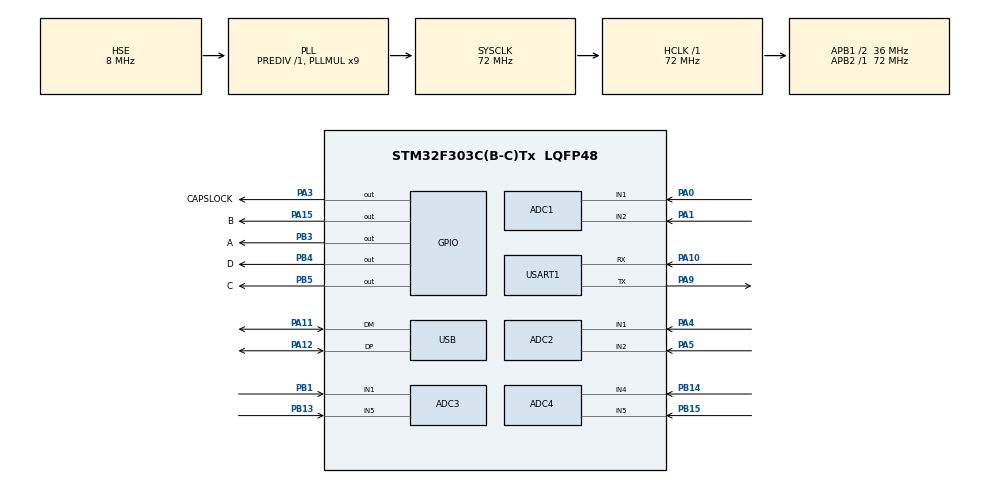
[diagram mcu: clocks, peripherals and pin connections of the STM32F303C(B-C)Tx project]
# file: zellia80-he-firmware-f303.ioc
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ADC1.Channel-0\#ChannelRegularConversion=ADC_CHANNEL_1
ADC1.Channel-1\#ChannelRegularConversion=ADC_CHANNEL_2
ADC1.ClockPrescaler=ADC_CLOCK_SYNC_PCLK_DIV1
ADC1.ContinuousConvMode=ENABLE
ADC1.DMAContinuousRequests=ENABLE
ADC1.NbrOfConversion=2
ADC1.NbrOfConversionFlag=1
ADC1.Offset-0\#ChannelRegularConversion=0
ADC1.Offset-1\#ChannelRegularConversion=0
ADC1.OffsetNumber-0\#ChannelRegularConversion=ADC_OFFSET_NONE
ADC1.OffsetNumber-1\#ChannelRegularConversion=ADC_OFFSET_NONE
ADC1.Rank-0\#ChannelRegularConversion=1
ADC1.Rank-1\#ChannelRegularConversion=2
ADC1.SamplingTime-0\#ChannelRegularConversion=ADC_SAMPLETIME_61CYCLES_5
ADC1.SamplingTime-1\#ChannelRegularConversion=ADC_SAMPLETIME_61CYCLES_5
ADC1.SamplingTimeOPAMP-1\#ChannelRegularConversion=ADC_SAMPLETIME_61CYCLES_5
ADC1.master=1
ADC2.Channel-0\#ChannelRegularConversion=ADC_CHANNEL_1
ADC2.Channel-1\#ChannelRegularConversion=ADC_CHANNEL_2
ADC2.ClockPrescaler=ADC_CLOCK_SYNC_PCLK_DIV1
ADC2.ContinuousConvMode=ENABLE
ADC2.DMAContinuousRequests=ENABLE
ADC2.NbrOfConversion=2
ADC2.NbrOfConversionFlag=1
ADC2.Offset-0\#ChannelRegularConversion=0
ADC2.Offset-1\#ChannelRegularConversion=0
ADC2.OffsetNumber-0\#ChannelRegularConversion=ADC_OFFSET_NONE
ADC2.OffsetNumber-1\#ChannelRegularConversion=ADC_OFFSET_NONE
ADC2.Rank-0\#ChannelRegularConversion=1
ADC2.Rank-1\#ChannelRegularConversion=2
ADC2.SamplingTime-0\#ChannelRegularConversion=ADC_SAMPLETIME_61CYCLES_5
ADC2.SamplingTime-1\#ChannelRegularConversion=ADC_SAMPLETIME_61CYCLES_5
ADC2.SamplingTimeOPAMP-1\#ChannelRegularConversion=ADC_SAMPLETIME_61CYCLES_5
ADC3.Channel-0\#ChannelRegularConversion=ADC_CHANNEL_1
ADC3.Channel-1\#ChannelRegularConversion=ADC_CHANNEL_5
ADC3.ContinuousConvMode=ENABLE
ADC3.DMAContinuousRequests=ENABLE
ADC3.NbrOfConversion=2
ADC3.NbrOfConversionFlag=1
ADC3.Offset-0\#ChannelRegularConversion=0
ADC3.Offset-1\#ChannelRegularConversion=0
ADC3.OffsetNumber-0\#ChannelRegularConversion=ADC_OFFSET_NONE
ADC3.OffsetNumber-1\#ChannelRegularConversion=ADC_OFFSET_NONE
ADC3.Rank-0\#ChannelRegularConversion=1
ADC3.Rank-1\#ChannelRegularConversion=2
ADC3.SamplingTime-0\#ChannelRegularConversion=ADC_SAMPLETIME_61CYCLES_5
ADC3.SamplingTime-1\#ChannelRegularConversion=ADC_SAMPLETIME_61CYCLES_5
ADC3.SamplingTimeOPAMP-1\#ChannelRegularConversion=ADC_SAMPLETIME_61CYCLES_5
ADC3.master=1
ADC4.Channel-0\#ChannelRegularConversion=ADC_CHANNEL_4
ADC4.Channel-1\#ChannelRegularConversion=ADC_CHANNEL_5
ADC4.ContinuousConvMode=ENABLE
ADC4.DMAContinuousRequests=ENABLE
ADC4.NbrOfConversion=2
ADC4.NbrOfConversionFlag=1
ADC4.Offset-0\#ChannelRegularConversion=0
ADC4.Offset-1\#ChannelRegularConversion=0
ADC4.OffsetNumber-0\#ChannelRegularConversion=ADC_OFFSET_NONE
ADC4.OffsetNumber-1\#ChannelRegularConversion=ADC_OFFSET_NONE
ADC4.Rank-0\#ChannelRegularConversion=1
ADC4.Rank-1\#ChannelRegularConversion=2
ADC4.SamplingTime-0\#ChannelRegularConversion=ADC_SAMPLETIME_61CYCLES_5
ADC4.SamplingTime-1\#ChannelRegularConversion=ADC_SAMPLETIME_61CYCLES_5
ADC4.SamplingTimeOPAMP-1\#ChannelRegularConversion=ADC_SAMPLETIME_61CYCLES_5
Dma.ADC1.0.Direction=DMA_PERIPH_TO_MEMORY
Dma.ADC1.0.Instance=DMA1_Channel1
Dma.ADC1.0.MemDataAlignment=DMA_MDATAALIGN_WORD
Dma.ADC1.0.MemInc=DMA_MINC_ENABLE
Dma.ADC1.0.Mode=DMA_CIRCULAR
Dma.ADC1.0.PeriphDataAlignment=DMA_PDATAALIGN_WORD
Dma.ADC1.0.PeriphInc=DMA_PINC_DISABLE
Dma.ADC1.0.Priority=DMA_PRIORITY_VERY_HIGH
Dma.ADC2.1.Direction=DMA_PERIPH_TO_MEMORY
Dma.ADC2.1.Instance=DMA2_Channel1
Dma.ADC2.1.MemDataAlignment=DMA_MDATAALIGN_WORD
Dma.ADC2.1.MemInc=DMA_MINC_ENABLE
Dma.ADC2.1.Mode=DMA_CIRCULAR
Dma.ADC2.1.PeriphDataAlignment=DMA_PDATAALIGN_WORD
Dma.ADC2.1.PeriphInc=DMA_PINC_DISABLE
Dma.ADC2.1.Priority=DMA_PRIORITY_VERY_HIGH
Dma.ADC3.2.Direction=DMA_PERIPH_TO_MEMORY
Dma.ADC3.2.Instance=DMA2_Channel5
Dma.ADC3.2.MemDataAlignment=DMA_MDATAALIGN_WORD
Dma.ADC3.2.MemInc=DMA_MINC_ENABLE
Dma.ADC3.2.Mode=DMA_CIRCULAR
Dma.ADC3.2.PeriphDataAlignment=DMA_PDATAALIGN_WORD
Dma.ADC3.2.PeriphInc=DMA_PINC_DISABLE
Dma.ADC3.2.Priority=DMA_PRIORITY_VERY_HIGH
Dma.ADC4.3.Direction=DMA_PERIPH_TO_MEMORY
Dma.ADC4.3.Instance=DMA2_Channel2
Dma.ADC4.3.MemDataAlignment=DMA_MDATAALIGN_WORD
Dma.ADC4.3.MemInc=DMA_MINC_ENABLE
Dma.ADC4.3.Mode=DMA_CIRCULAR
Dma.ADC4.3.PeriphDataAlignment=DMA_PDATAALIGN_WORD
Dma.ADC4.3.PeriphInc=DMA_PINC_DISABLE
Dma.ADC4.3.Priority=DMA_PRIORITY_VERY_HIGH
Dma.Request0=ADC1
Dma.Request1=ADC2
Dma.Request2=ADC3
Dma.Request3=ADC4
Mcu.Family=STM32F3
Mcu.Name=STM32F303C(B-C)Tx
Mcu.Package=LQFP48
NVIC.PriorityGroup=NVIC_PRIORITYGROUP_4
NVIC.TIM2_IRQn=true\:5\:0\:true\:false\:true\:true\:true\:true
NVIC.TIM7_IRQn=true\:7\:0\:true\:false\:true\:true\:true\:true
NVIC.USB_LP_CAN_RX0_IRQn=true\:0\:0\:false\:false\:true\:true\:true\:true
PA0.Mode=IN1-Single-Ended
PA0.Signal=ADC1_IN1
PA1.Mode=IN2-Single-Ended
PA1.Signal=ADC1_IN2
PA10.Mode=Asynchronous
PA10.Signal=USART1_RX
PA11.Mode=Device
PA11.Signal=USB_DM
PA12.Mode=Device
PA12.Signal=USB_DP
PA13.Mode=Serial_Wire
PA13.Signal=SYS_JTMS-SWDIO
PA14.Mode=Serial_Wire
PA14.Signal=SYS_JTCK-SWCLK
PA15.GPIO_Label=B
PA15.Signal=GPIO_Output
PA3.GPIO_Label=CAPSLOCK
PA3.Signal=GPIO_Output
PA4.Mode=IN1-Single-Ended
PA4.Signal=ADC2_IN1
PA5.Mode=IN2-Single-Ended
PA5.Signal=ADC2_IN2
PA9.Mode=Asynchronous
PA9.Signal=USART1_TX
PB1.Mode=IN1-Single-Ended
PB1.Signal=ADC3_IN1
PB13.Mode=IN5-Single-Ended
PB13.Signal=ADC3_IN5
PB14.Mode=IN4-Single-Ended
PB14.Signal=ADC4_IN4
PB15.Mode=IN5-Single-Ended
PB15.Signal=ADC4_IN5
PB3.GPIO_Label=A
PB3.Signal=GPIO_Output
PB4.GPIO_Label=D
PB4.Signal=GPIO_Output
PB5.GPIO_Label=C
PB5.Signal=GPIO_Output
PF0-OSC_IN.Mode=HSE-External-Oscillator
PF0-OSC_IN.Signal=RCC_OSC_IN
PF1-OSC_OUT.Mode=HSE-External-Oscillator
PF1-OSC_OUT.Signal=RCC_OSC_OUT
ProjectManager.HeapSize=0x200
ProjectManager.StackSize=0x400
ProjectManager.TargetToolchain=CMake
RCC.AHBFreq_Value=72000000
RCC.APB1CLKDivider=RCC_HCLK_DIV2
RCC.APB1Freq_Value=36000000
RCC.APB1TimFreq_Value=72000000
RCC.APB2Freq_Value=72000000
RCC.APB2TimFreq_Value=72000000
RCC.CortexFreq_Value=72000000
RCC.HCLKFreq_Value=72000000
RCC.HSE_VALUE=8000000
RCC.HSI_VALUE=8000000
RCC.LSE_VALUE=32768
RCC.PLLMUL=RCC_PLL_MUL9
RCC.PRESCALERUSB=RCC_USBCLKSOURCE_PLL_DIV1_5
RCC.SYSCLKFreq_VALUE=72000000
RCC.SYSCLKSourceVirtual=RCC_SYSCLKSOURCE_PLLCLK
RCC.USBFreq_Value=48000000
TIM2.AutoReloadPreload=TIM_AUTORELOAD_PRELOAD_ENABLE
TIM2.Period=1200-1
TIM2.TIM_MasterOutputTrigger=TIM_TRGO_UPDATE
TIM7.Period=10-1
TIM7.Prescaler=7200-1
USART1.VirtualMode-Asynchronous=VM_ASYNC
VP_TIM2_VS_ClockSourceINT.Mode=Internal
VP_TIM7_VS_ClockSourceINT.Mode=Enable_Timer
board=custom

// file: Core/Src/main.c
/* USER CODE BEGIN Header */
/**
  ******************************************************************************
  * @file           : main.c
  * @brief          : Main program body
  ******************************************************************************
  * @attention
  *
  * Copyright (c) 2025 STMicroelectronics.
  * All rights reserved.
  *
  * This software is licensed under terms that can be found in the LICENSE file
  * in the root directory of this software component.
  * If no LICENSE file comes with this software, it is provided AS-IS.
  *
  ******************************************************************************
  */
/* USER CODE END Header */
#include "main.h"
#include "adc.h"
#include "dma.h"
#include "tim.h"
#include "usart.h"
#include "usb.h"
#include "gpio.h"

/* USER CODE BEGIN Includes */
#include "stdbool.h"
#include "stdlib.h"
#include "analog.h"
#include "rgb.h"
#include "keyboard.h"
#include "keyboard_conf.h"
#include "math.h"
#include "lfs.h"
#include "command.h"
#include "keyboard_def.h"
#include "usbd_user.h"
#include "command.h"
#include "packet.h"
#include "qmk_midi.h"

/* USER CODE END Includes */

/* USER CODE BEGIN PD */
#define DMA_BUF_LEN             4

/* USER CODE END PD */

/* USER CODE BEGIN PV */

uint32_t ADC_Buffer[4*DMA_BUF_LEN];
/* USER CODE END PV */

void SystemClock_Config(void);

/* USER CODE BEGIN 0 */

// 重定向print start
#if defined (__ARMCC_VERSION) /* ARM Compiler */
int fputc(int ch, FILE *f)
{
  while ((USART1->ISR & USART_ISR_TXE) == 0)
      ;
  USART1->TDR = ch;
  return ch;
}
#elif defined ( __GNUC__ ) && !defined (__CC_ARM) /* GNU Compiler */
//_write函數在syscalls.c中， 使用__weak定义以可以直接在其他文件中定义_write函數
__attribute__((weak)) int _write(int file, char *ptr, int len)
{
  UNUSED(file);
  if (HAL_UART_Transmit(&huart1, (uint8_t*)ptr, len, 0xffff) != HAL_OK)
  {
    Error_Handler();
  }
  return HAL_OK;
}
#endif
// 重定向print end

/**
 * @brief  初始化时间戳
 * @note   使用延时函数前，必须调用本函数
 */
int DWT_Init(void)
{
  /* Disable TRC */
  CoreDebug->DEMCR &= ~CoreDebug_DEMCR_TRCENA_Msk; // ~0x01000000;
  /* Enable TRC */
  CoreDebug->DEMCR |= CoreDebug_DEMCR_TRCENA_Msk; // 0x01000000;

  /* Disable clock cycle counter */
  DWT->CTRL &= ~DWT_CTRL_CYCCNTENA_Msk; //~0x00000001;
  /* Enable  clock cycle counter */
  DWT->CTRL |= DWT_CTRL_CYCCNTENA_Msk; // 0x00000001;

  /* Reset the clock cycle counter value */
  DWT->CYCCNT = 0;

  /* 3 NO OPERATION instructions */
  __ASM volatile("NOP");
  __ASM volatile("NOP");
  __ASM volatile("NOP");

  /* Check if clock cycle counter has started */
  if (DWT->CYCCNT)
  {
    return 0; /*clock cycle counter started*/
  }
  else
  {
    return 1; /*clock cycle counter not started*/
  }
}
// This Function Provides Delay In Microseconds Using DWT

void DWT_Delay_us(volatile uint32_t au32_microseconds)
{
  uint32_t au32_initial_ticks = DWT->CYCCNT;
  uint32_t au32_ticks = (HAL_RCC_GetHCLKFreq() / 1000000);
  au32_microseconds *= au32_ticks;
  while ((DWT->CYCCNT - au32_initial_ticks) < au32_microseconds - au32_ticks)
    ;
}

void (*SysMemBootJump)(void);
__IO uint32_t BootAddr = 0x1FFFD800; /* BootLoader 地址 */

void JumpToBootloader(void)
{
  uint32_t i = 0;

  /* 关闭全局中断 */
  __set_PRIMASK(1);

  /* 关闭滴答定时器，复位到默认值 */
  SysTick->CTRL = 0;
  SysTick->LOAD = 0;
  SysTick->VAL = 0;

  /* 设置所有时钟到默认状态，使用HSI时钟 */
  HAL_RCC_DeInit();

  /* 关闭所有中断，清除所有中断挂起标志 */
  for (i = 0; i < 8; i++)
  {
    NVIC->ICER[i] = 0xFFFFFFFF;
    NVIC->ICPR[i] = 0xFFFFFFFF;
  }

  /* 使能全局中断 */
  __set_PRIMASK(0);

  /* 跳转到系统BootLoader，首地址是MSP，地址+4是复位中断服务程序地址 */
  SysMemBootJump = (void (*)(void))(*((uint32_t *)(BootAddr + 4)));

  /* 设置主堆栈指针 */
  __set_MSP(*(uint32_t *)BootAddr);

  /* 跳转到系统BootLoader */
  SysMemBootJump();

  /* 跳转成功的话，不会执行到这里，用户可以在这里添加代码 */
  while (1)
  {
  }
}

void usb_dc_low_level_init(void)
{

  GPIO_InitTypeDef GPIO_InitStruct = {0};
  __HAL_RCC_GPIOA_CLK_ENABLE();
  /**USB GPIO Configuration
  PA11     ------> USB_DM
  PA12     ------> USB_DP
  */
  GPIO_InitStruct.Pin = GPIO_PIN_11 | GPIO_PIN_12;
  GPIO_InitStruct.Mode = GPIO_MODE_AF_PP;
  GPIO_InitStruct.Pull = GPIO_NOPULL;
  GPIO_InitStruct.Speed = GPIO_SPEED_FREQ_HIGH;
  GPIO_InitStruct.Alternate = GPIO_AF14_USB;
  HAL_GPIO_Init(GPIOA, &GPIO_InitStruct);
  /* Peripheral clock enable */
  __HAL_RCC_USB_CLK_ENABLE();
  /* USB interrupt Init */
  HAL_NVIC_SetPriority(USB_LP_CAN_RX0_IRQn, 0, 0);
  HAL_NVIC_EnableIRQ(USB_LP_CAN_RX0_IRQn);
}

/* USER CODE END 0 */

int main(void)
{

  /* MCU Configuration--------------------------------------------------------*/

  /* Reset of all peripherals, Initializes the Flash interface and the Systick. */
  HAL_Init();

  /* Configure the system clock */
  SystemClock_Config();

  /* Initialize all configured peripherals */
  MX_GPIO_Init();
  MX_DMA_Init();
  MX_ADC1_Init();
  MX_ADC2_Init();
  MX_ADC3_Init();
  MX_ADC4_Init();
  MX_TIM2_Init();
  MX_TIM7_Init();
  MX_USART1_UART_Init();
  /* USER CODE BEGIN 2 */
  DWT_Init();
  usb_init();
  keyboard_init();

  HAL_ADCEx_Calibration_Start(&hadc1, ADC_SINGLE_ENDED);
  HAL_ADCEx_Calibration_Start(&hadc2, ADC_SINGLE_ENDED);
  HAL_ADCEx_Calibration_Start(&hadc3, ADC_SINGLE_ENDED);
  HAL_ADCEx_Calibration_Start(&hadc4, ADC_SINGLE_ENDED);

  HAL_ADC_Start_DMA(&hadc1, ADC_Buffer + DMA_BUF_LEN*0, DMA_BUF_LEN);
  HAL_ADC_Start_DMA(&hadc2, ADC_Buffer + DMA_BUF_LEN*1, DMA_BUF_LEN);
  HAL_ADC_Start_DMA(&hadc3, ADC_Buffer + DMA_BUF_LEN*2, DMA_BUF_LEN);
  HAL_ADC_Start_DMA(&hadc4, ADC_Buffer + DMA_BUF_LEN*3, DMA_BUF_LEN);

  HAL_TIM_Base_Start_IT(&htim2);

  HAL_Delay(100);

  keyboard_reset_to_default();
  analog_reset_range();
  if (g_ADC_Averages[1] < 1400 || g_ADC_Averages[1] > (4096 - 1400))
  {
    JumpToBootloader();
  }
  HAL_TIM_Base_Start_IT(&htim7);
  g_keyboard_nkro_enable = true;
  /* USER CODE END 2 */

  /* Infinite loop */
  while (1)
  {

  }
}

void SystemClock_Config(void)
{
  RCC_OscInitTypeDef RCC_OscInitStruct = {0};
  RCC_ClkInitTypeDef RCC_ClkInitStruct = {0};
  RCC_PeriphCLKInitTypeDef PeriphClkInit = {0};

  /** Initializes the RCC Oscillators according to the specified parameters
  * in the RCC_OscInitTypeDef structure.
  */
  RCC_OscInitStruct.OscillatorType = RCC_OSCILLATORTYPE_HSE;
  RCC_OscInitStruct.HSEState = RCC_HSE_ON;
  RCC_OscInitStruct.HSEPredivValue = RCC_HSE_PREDIV_DIV1;
  RCC_OscInitStruct.HSIState = RCC_HSI_ON;
  RCC_OscInitStruct.PLL.PLLState = RCC_PLL_ON;
  RCC_OscInitStruct.PLL.PLLSource = RCC_PLLSOURCE_HSE;
  RCC_OscInitStruct.PLL.PLLMUL = RCC_PLL_MUL9;
  if (HAL_RCC_OscConfig(&RCC_OscInitStruct) != HAL_OK)
  {
    Error_Handler();
  }

  /** Initializes the CPU, AHB and APB buses clocks
  */
  RCC_ClkInitStruct.ClockType = RCC_CLOCKTYPE_HCLK|RCC_CLOCKTYPE_SYSCLK
                              |RCC_CLOCKTYPE_PCLK1|RCC_CLOCKTYPE_PCLK2;
  RCC_ClkInitStruct.SYSCLKSource = RCC_SYSCLKSOURCE_PLLCLK;
  RCC_ClkInitStruct.AHBCLKDivider = RCC_SYSCLK_DIV1;
  RCC_ClkInitStruct.APB1CLKDivider = RCC_HCLK_DIV2;
  RCC_ClkInitStruct.APB2CLKDivider = RCC_HCLK_DIV1;

  if (HAL_RCC_ClockConfig(&RCC_ClkInitStruct, FLASH_LATENCY_2) != HAL_OK)
  {
    Error_Handler();
  }
  PeriphClkInit.PeriphClockSelection = RCC_PERIPHCLK_USB|RCC_PERIPHCLK_USART1
                              |RCC_PERIPHCLK_ADC34;
  PeriphClkInit.Usart1ClockSelection = RCC_USART1CLKSOURCE_PCLK2;
  PeriphClkInit.Adc34ClockSelection = RCC_ADC34PLLCLK_DIV1;
  PeriphClkInit.USBClockSelection = RCC_USBCLKSOURCE_PLL_DIV1_5;
  if (HAL_RCCEx_PeriphCLKConfig(&PeriphClkInit) != HAL_OK)
  {
    Error_Handler();
  }
}

/* USER CODE BEGIN 4 */

void HAL_TIM_PeriodElapsedCallback(TIM_HandleTypeDef *htim)
{
  if (htim->Instance == TIM7)
  {
    HAL_GPIO_WritePin(CAPSLOCK_GPIO_Port, CAPSLOCK_Pin, !(g_keyboard_led_state&BIT(1)));
    keyboard_scan();
    for (uint8_t i = 0; i < ANALOG_BUFFER_LENGTH; i++)
    {
        g_ADC_Averages[i] = ringbuf_avg(&adc_ringbuf[i]);
#ifdef ENABLE_FILTER
        g_ADC_Averages[i] = adaptive_schimidt_filter(g_analog_filters+i,g_ADC_Averages[i]);
#endif
      if ((uint16_t)~g_analog_map[i])
      {
        AdvancedKey* key = &g_keyboard_advanced_keys[g_analog_map[i]];
        if (key->config.mode != KEY_DIGITAL_MODE)
        {
            advanced_key_update_raw(key, g_ADC_Averages[i]);
        }
      }
    }
    switch (g_keyboard_state)
    {
    case KEYBOARD_STATE_DEBUG:
      send_debug_info();
      break;
    case KEYBOARD_STATE_UPLOAD_CONFIG:
      if (!load_cargo())
      {
        g_keyboard_state = KEYBOARD_STATE_IDLE;
      }
      break;
    default:
      keyboard_send_report();
      break;
    }
  }
  if (htim->Instance == TIM2)
  {
    uint32_t adc[8] = {0};
    memset(adc, 0 ,sizeof(adc));
    for (int i = 0; i < DMA_BUF_LEN/2; i++)
    {
      adc[0] += ADC_Buffer[DMA_BUF_LEN * 0 + i * 2] & 0xfff;
      adc[1] += ADC_Buffer[DMA_BUF_LEN * 0 + i * 2 + 1] & 0xfff;
      adc[2] += ADC_Buffer[DMA_BUF_LEN * 1 + i * 2] & 0xfff;
      adc[3] += ADC_Buffer[DMA_BUF_LEN * 1 + i * 2 + 1] & 0xfff;
      adc[4] += ADC_Buffer[DMA_BUF_LEN * 2 + i * 2] & 0xfff;
      adc[5] += ADC_Buffer[DMA_BUF_LEN * 2 + i * 2 + 1] & 0xfff;
      adc[6] += ADC_Buffer[DMA_BUF_LEN * 3 + i * 2] & 0xfff;
      adc[7] += ADC_Buffer[DMA_BUF_LEN * 3 + i * 2 + 1] & 0xfff;
    }

    ringbuf_push(&adc_ringbuf[0 + ADDRESS * 8], (float)adc[0] / (float)(DMA_BUF_LEN/2));
    ringbuf_push(&adc_ringbuf[1 + ADDRESS * 8], (float)adc[1] / (float)(DMA_BUF_LEN/2));
    ringbuf_push(&adc_ringbuf[2 + ADDRESS * 8], (float)adc[2] / (float)(DMA_BUF_LEN/2));
    ringbuf_push(&adc_ringbuf[3 + ADDRESS * 8], (float)adc[3] / (float)(DMA_BUF_LEN/2));
    ringbuf_push(&adc_ringbuf[4 + ADDRESS * 8], (float)adc[4] / (float)(DMA_BUF_LEN/2));
    ringbuf_push(&adc_ringbuf[5 + ADDRESS * 8], (float)adc[5] / (float)(DMA_BUF_LEN/2));
    ringbuf_push(&adc_ringbuf[6 + ADDRESS * 8], (float)adc[6] / (float)(DMA_BUF_LEN/2));
    ringbuf_push(&adc_ringbuf[7 + ADDRESS * 8], (float)adc[7] / (float)(DMA_BUF_LEN/2));

    if (htim->Instance->CNT < 700)
    {
      g_analog_active_channel++;
      if (g_analog_active_channel >= ANALOG_CHANNEL_MAX)
      {
        g_analog_active_channel = 0;
      }
      analog_channel_select(g_analog_active_channel);
    }
  }
}

/* USER CODE END 4 */

void Error_Handler(void)
{
  __disable_irq();
  while (1)
  {
  }
}
